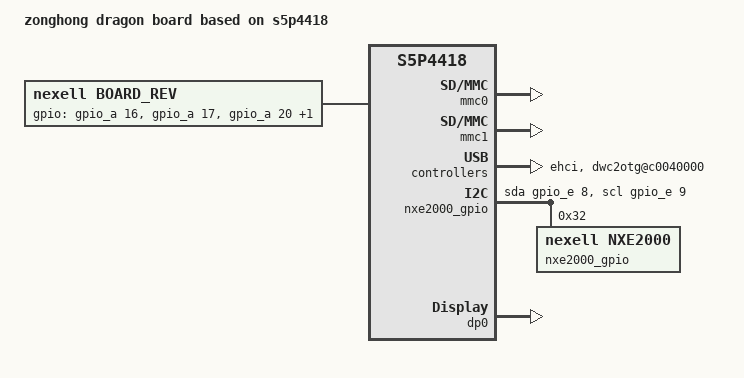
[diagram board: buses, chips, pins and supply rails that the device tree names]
/*
 * (C) Copyright 2016 Nexell
 * Youngbok, Park <park@nexell.co.kr>
 *
 * SPDX-License-Identifier:      GPL-2.0+
 */

/dts-v1/;
#include "s5p4418.dtsi"
#include "s5p4418-zh-dragon-nxe2000.dtsi"

/ {
	model = "zonghong dragon board based on s5p4418";
	cpu-model = "S5p4418";

	compatible = "nexell,s5p4418";

	pinctrl@C0010000 {
		/delete-node/ gmac_txd;
		/delete-node/ gmac_rxd;
		/delete-node/ gmac_txen;
		/delete-node/ gmac_mdc;
		/delete-node/ gmac_mdio;
		/delete-node/ gmac_rxclk;
		/delete-node/ gmac_txclk;
	};

	mmc0:mmc@c0062000 {
		nexell,drive_dly = <0x0>;
		nexell,drive_shift = <0x03>;
		nexell,sample_dly = <0x00>;
		nexell,sample_shift = <0x02>;
		frequency = <50000000>;
		status = "okay";
	};

	mmc1:mmc@c0068000 {
		nexell,drive_dly = <0x0>;
		nexell,drive_shift = <0x03>;
		nexell,sample_dly = <0x00>;
		nexell,sample_shift = <0x02>;
		frequency = <50000000>;
		status ="okay";
	};

	ehci:usbhost@c0030000 {
		status = "okay";
	};

	dwc2otg@c0040000 {
		status = "okay";
	};

	nxe2000_gpio:i2c_gpio@0 {
		compatible = "i2c-gpio";
		#address-cells = <1>;
		#size-cells = <0>;
		gpios = <&gpio_e 8 1>,	/* SDA */
		      <&gpio_e 9 1>;	/* SCL */

		i2c-gpio,delay-us = <3>;
		nxe2000_gpio@32 {
			compatible = "nexell,nxe2000";
			reg = <0x32>;
		};
	};

	dp0:dp@c0102800 {
	        status = "okay";
	        module = <0>;
	        lcd-type = "lvds";

		dp-device {
			format = <0>;
		};

		dp-sync {
			h_active_len = <1024>;
			h_front_porch = <160>;
			h_back_porch = <160>;
			h_sync_width = <2>;
			v_active_len = <600>;
			v_front_porch = <15>;
			v_back_porch = <23>;
			v_sync_width = <14>;
		};

		dp-ctrl {
			clk_src_lv0 = <0>;
			clk_div_lv0 = <16>;
			clk_src_lv1 = <7>;
			clk_div_lv1 = <1>;
			out_format = <3>;
		};

		dp-planes {
			layer_top {
				screen_width = <1024>;
				screen_height = <600>;
				back_color = <0x0>;
			};

			layer_1 {
				fb_base = <0x7E000000>;
				width = <1024>;
				height = <600>;
				format = <0x06530000>;
				pixel_byte = <4>;
			};
		};
	};

	board_rev:rev@0 {
		#address-cells = <1>;
		#size-cells = <0>;
		gpios = < &gpio_a 16 0 >,
		      < &gpio_a 17 0 >,
		      < &gpio_a 20 0 >,
		      < &gpio_a 21 0 >;
		compatible = "nexell,board_rev";
	};
};
